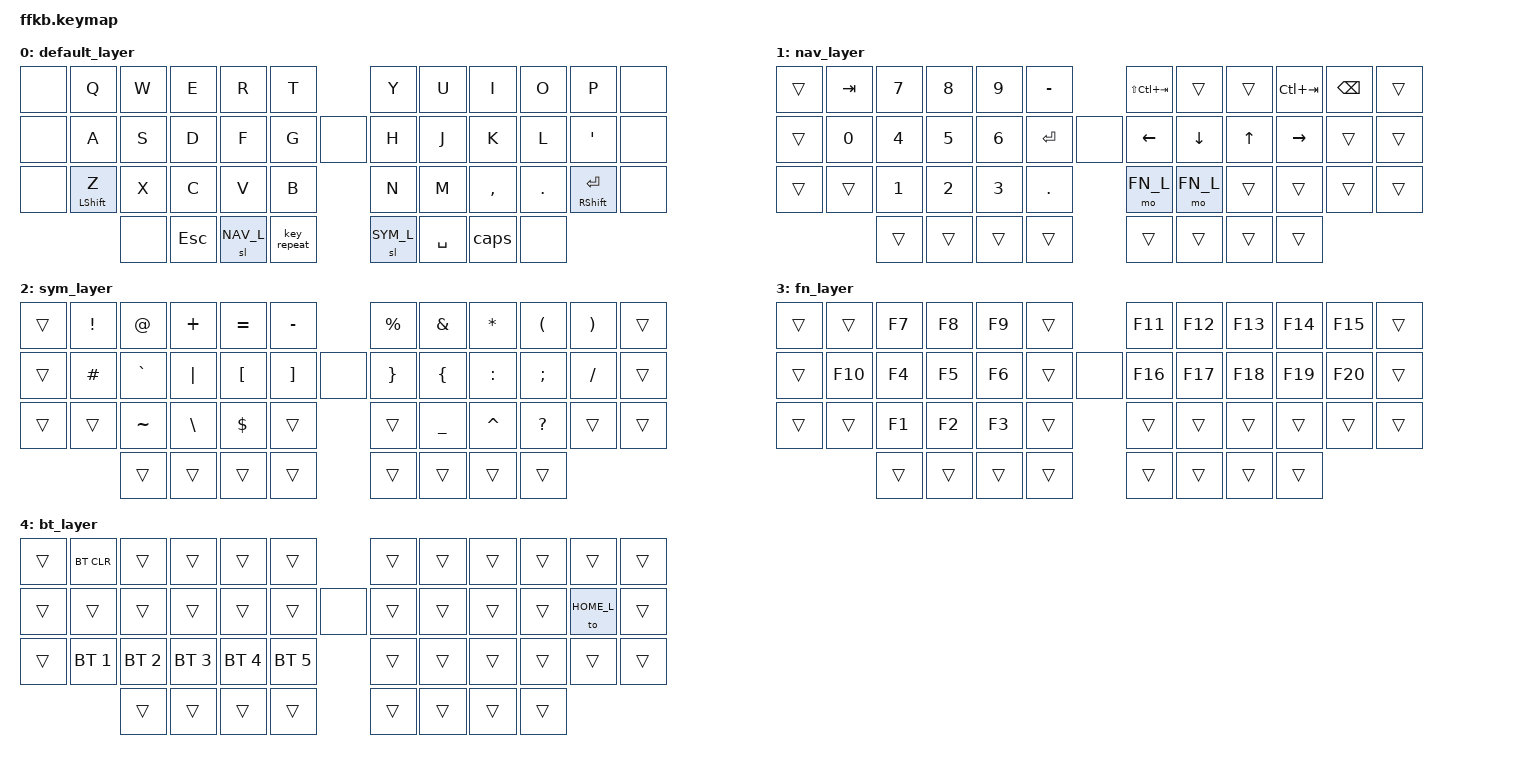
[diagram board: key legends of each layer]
#include <behaviors.dtsi>
#include <dt-bindings/zmk/keys.h>
#include <dt-bindings/zmk/bt.h>
#include <dt-bindings/zmk/ext_power.h>

#define HOME_L 0
#define NAV_L 1
#define SYM_L 2
#define FN_L 3
#define BT_L 4

// Two key, a c macro that produces zmk macros
// I'm not actually using this, I'm going to keep it here in case I want to make changes and decide
// to use this though.
#define TK(a, b) \
  tk##a##b: two_key##a##b {\
    compatible = "zmk,behavior-macro";\
    #binding-cells = <0>;\
    wait-ms = <0>;\
    tap-ms = <0>;\
    bindings = <&kp a>, <&kp b>;\
  };

&caps_word {
  continue-list = <UNDERSCORE MINUS BACKSPACE>;
};

/ {
  behaviors {
    caps: tap_dance_caps {
      compatible = "zmk,behavior-tap-dance";
      #binding-cells = <0>;
      tapping-term-ms = <250>;
      bindings = <&caps_word>, <&kp CAPS>;
    };
    cmsk: combo_mod_stickey_key {
      compatible = "zmk,behavior-sticky-key";
      #binding-cells = <1>;
      bindings = <&kp>;
      release-after-ms = <10000>;
      quick-release;
      ignore-modifiers;
    };
    rctrl_cm: jucombo_mod {
      compatible = "zmk,behavior-hold-tap";
      flavor = "tap-preferred";
      tapping-term-ms = <150>; // must hold for 150ms to trigger mod
      #binding-cells = <2>;
      bindings = <&cmsk>, <&tkJU>;
    };
    rcmd_cm: kicombo_mod {
      compatible = "zmk,behavior-hold-tap";
      flavor = "tap-preferred";
      tapping-term-ms = <150>; // must hold for 150ms to trigger mod
      #binding-cells = <2>;
      bindings = <&cmsk>, <&tkKI>;
    };
    ralt_cm: locombo_mod {
      compatible = "zmk,behavior-hold-tap";
      flavor = "tap-preferred";
      tapping-term-ms = <150>; // must hold for 150ms to trigger mod
      #binding-cells = <2>;
      bindings = <&cmsk>, <&tkLO>;
    };
    lalt_cm: facombo_mod {
      compatible = "zmk,behavior-hold-tap";
      flavor = "tap-preferred";
      tapping-term-ms = <150>; // must hold for 150ms to trigger mod
      #binding-cells = <2>;
      bindings = <&cmsk>, <&tkSW>;
    };
    lcmd_cm: decombo_mod {
      compatible = "zmk,behavior-hold-tap";
      flavor = "tap-preferred";
      tapping-term-ms = <150>; // must hold for 150ms to trigger mod
      #binding-cells = <2>;
      bindings = <&cmsk>, <&tkDE>;
    };
    lctrl_cm: fdcombo_mod {
      compatible = "zmk,behavior-hold-tap";
      flavor = "tap-preferred";
      tapping-term-ms = <150>; // must hold for 150ms to trigger mod
      #binding-cells = <2>;
      bindings = <&cmsk>, <&tkFR>;
    };
  };
};

/ {
  macros {
    tkJU: two_keyJU {
      compatible = "zmk,behavior-macro";
      #binding-cells = <0>;
      wait-ms = <0>;
      tap-ms = <0>;
      bindings = <&kp J>, <&kp U>;
    };
    tkKI: two_keyKI {
      compatible = "zmk,behavior-macro";
      #binding-cells = <0>;
      wait-ms = <0>;
      tap-ms = <0>;
      bindings = <&kp K>, <&kp I>;
    };
    tkLO: two_keyLO {
      compatible = "zmk,behavior-macro";
      #binding-cells = <0>;
      wait-ms = <0>;
      tap-ms = <0>;
      bindings = <&kp L>, <&kp O>;
    };
    tkFR: two_keyFR {
      compatible = "zmk,behavior-macro";
      #binding-cells = <0>;
      wait-ms = <0>;
      tap-ms = <0>;
      bindings = <&kp F>, <&kp R>;
    };
    tkDE: two_keyDE {
      compatible = "zmk,behavior-macro";
      #binding-cells = <0>;
      wait-ms = <0>;
      tap-ms = <0>;
      bindings = <&kp D>, <&kp E>;
    };
    tkSW: two_keyAF {
      compatible = "zmk,behavior-macro";
      #binding-cells = <0>;
      wait-ms = <0>;
      tap-ms = <0>;
      bindings = <&kp S>, <&kp W>;
    };
  };
};

/ {
  combos {
    compatible = "zmk,combos";

    combo_del {
      timeout-ms = <50>;
      key-positions = <10 23>; // p'
      bindings = <&kp DEL>;
    };
    combo_bootloader {
      timeout-ms = <50>;
      key-positions = <26 27 28 29>; // zxcv
      bindings = <&bootloader>;
    };
    combo_reset {
      timeout-ms = <50>;
      key-positions = <4 5 16 17>; // rtfg
      bindings = <&sys_reset>;
    };
    combo_bt {
      timeout-ms = <50>;
      key-positions = <29 30 31 32>; // vbnm
      bindings = <&to BT_L>;
    };
    // COMBO MODS
     combo_lctrl {
       timeout-ms = <40>;
       key-positions = <16 4>; // fr
       bindings = <&lctrl_cm LCTRL 0>;
     };
     combo_lsuper {
       timeout-ms = <35>;
       key-positions = <15 3>; // de
       bindings = <&lcmd_cm LGUI 0>;
     };
     combo_lalt {
       timeout-ms = <35>;
       key-positions = <14 2>; // sw
       bindings = <&lalt_cm LALT 0>;
     };
     combo_rctrl {
       timeout-ms = <35>;
       key-positions = <20 7>; // ju
       bindings = <&rctrl_cm RCTRL 0>;
     };
     combo_rsuper {
       timeout-ms = <35>;
       key-positions = <21 8>; // ki
       bindings = <&rcmd_cm RGUI 0>;
     };
     combo_ralt {
       timeout-ms = <35>;
       key-positions = <22 9>; // lo
       bindings = <&ralt_cm RALT 0>;
     };
  };
};

/ {
  keymap {
    compatible = "zmk,keymap";

    default_layer {
      bindings = <
        &none &kp Q        &kp W     &kp E     &kp R     &kp T          &kp Y     &kp U     &kp I       &kp O     &kp P          &none
        &none &kp A        &kp S     &kp D     &kp F     &kp G   &none  &kp H     &kp J     &kp K       &kp L     &kp SQT        &none
        &none &mt LSHIFT Z &kp X     &kp C     &kp V     &kp B          &kp N     &kp M     &kp COMMA   &kp DOT   &mt RSHIFT RET &none
                           &none     &kp ESC   &sl NAV_L &key_repeat    &sl SYM_L &kp SPACE &caps       &none
        >;
    };

    nav_layer {
      bindings = <
        &trans &kp TAB  &kp N7   &kp N8    &kp N9    &kp MINUS         &kp LS(LC(TAB))  &trans     &trans  &kp LC(TAB)  &kp BSPC  &trans
        &trans &kp N0   &kp N4   &kp N5    &kp N6    &kp ENTER   &none &kp LEFT         &kp DOWN   &kp UP  &kp RIGHT    &trans    &trans
        &trans &trans   &kp N1   &kp N2    &kp N3    &kp DOT           &mo FN_L         &mo FN_L   &trans  &trans       &trans    &trans
        &trans &trans &trans &trans &trans &trans &trans &trans
        >;
    };

    sym_layer {
      bindings = <
        &trans &kp EXCL  &kp AT    &kp PLUS &kp EQUAL  &kp MINUS         &kp PRCNT &kp AMPS  &kp ASTRK  &kp LPAR     &kp RPAR  &trans
        &trans &kp HASH  &kp GRAVE &kp PIPE &kp LBKT   &kp RBKT  &none   &kp RBRC  &kp LBRC  &kp COLON  &kp SEMI     &kp FSLH  &trans
        &trans &trans    &kp TILDE &kp BSLH &kp DOLLAR &trans            &trans    &kp UNDER &kp CARET  &kp QUESTION &trans    &trans
        &trans &trans &trans &trans &trans &trans &trans &trans
        >;
    };

    fn_layer {
      bindings = <
        &trans &trans    &kp F7 &kp F8 &kp F9 &trans            &kp F11 &kp F12 &kp F13 &kp F14 &kp F15 &trans
        &trans &kp F10   &kp F4 &kp F5 &kp F6 &trans    &none   &kp F16 &kp F17 &kp F18 &kp F19 &kp F20 &trans
        &trans &trans    &kp F1 &kp F2 &kp F3 &trans            &trans  &trans  &trans  &trans  &trans  &trans
        &trans &trans &trans &trans &trans &trans &trans &trans
        >;
    };

    bt_layer {
      bindings = <
      &trans &bt BT_CLR   &trans       &trans       &trans       &trans            &trans &trans &trans &trans &trans     &trans
      &trans &trans       &trans       &trans       &trans       &trans    &none   &trans &trans &trans &trans &to HOME_L &trans
      &trans &bt BT_SEL 1 &bt BT_SEL 2 &bt BT_SEL 3 &bt BT_SEL 4 &bt BT_SEL 5      &trans &trans &trans &trans &trans     &trans
      &trans &trans &trans &trans &trans &trans &trans &trans
      >;
    };

  };
};
// vi: tw=0
